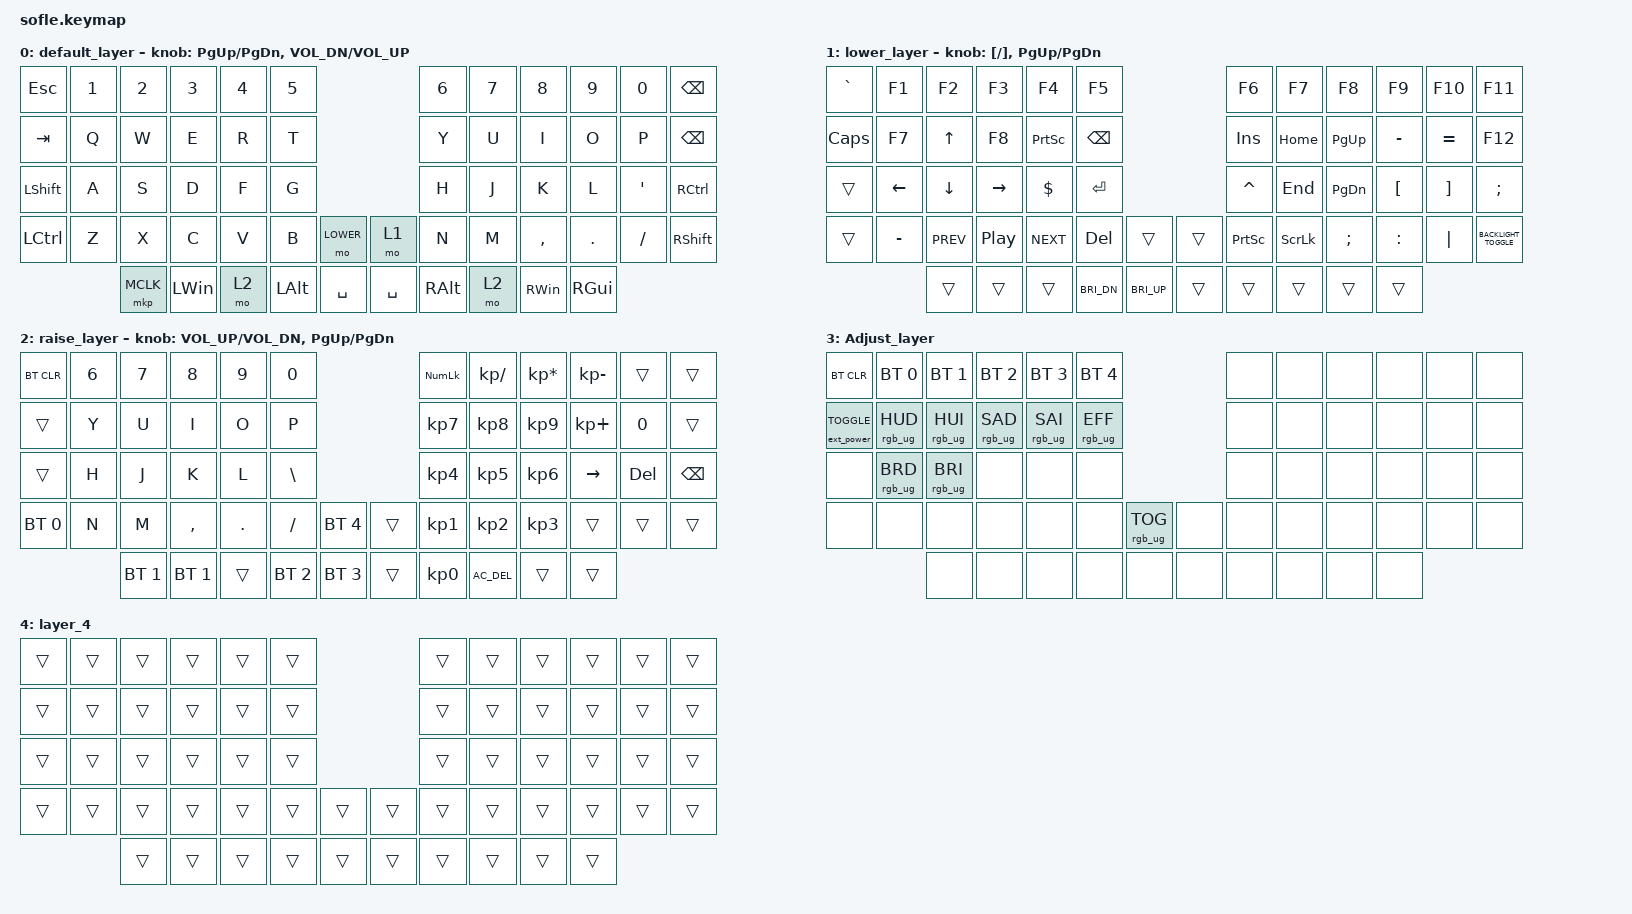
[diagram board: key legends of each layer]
/*
 * Copyright (c) 2020 The ZMK Contributors
 *
 * SPDX-License-Identifier: MIT
 */

#include <dt-bindings/zmk/mouse.h>
#include <behaviors.dtsi>
#include <dt-bindings/zmk/bt.h>
#include <dt-bindings/zmk/ext_power.h>
#include <dt-bindings/zmk/keys.h>
#include <dt-bindings/zmk/pointing.h>
#include <dt-bindings/zmk/rgb.h>

#define BASE 0
#define LOWER 1
#define RAISE 2
#define ADJUST 3

/ {
    // Activate ADJUST layer by pressing raise and lower

    conditional_layers {
        compatible = "zmk,conditional-layers";

        adjust_layer {
            if-layers = <LOWER RAISE>;
            then-layer = <ADJUST>;
        };
    };

    keymap {
        compatible = "zmk,keymap";

        default_layer {
            // ------------------------------------------------------------------------------------------------------------
            // |  `    |  1  |  2  |  3   |  4   |  5   |                   |  6   |  7    |  8    |  9   |   0   |       |
            // |  ESC  |  Q  |  W  |  E   |  R   |  T   |                   |  Y   |  U    |  I    |  O   |   P   | BKSPC |
            // |  TAB  |  A  |  S  |  D   |  F   |  G   |                   |  H   |  J    |  K    |  L   |   ;   |   '   |
            // | SHIFT |  Z  |  X  |  C   |  V   |  B   |  MUTE  |  |       |  N   |  M    |  ,    |  .   |   /   | SHIFT |
            //               | GUI | ALT  | CTRL | LOWER|  ENTER |  | SPACE | RAISE| CTRL  | ALT   | GUI  |

            bindings = <
&kp ESC    &kp N1  &kp N2     &kp N3        &kp N4  &kp N5                                &kp N6         &kp N7  &kp N8         &kp N9    &kp N0            &kp BACKSPACE
&kp TAB    &kp Q   &kp W      &kp E         &kp R   &kp T                                 &kp Y          &kp U   &kp I          &kp O     &kp P             &kp BSPC
&kp LSHFT  &kp A   &kp S      &kp D         &kp F   &kp G                                 &kp H          &kp J   &kp K          &kp L     &kp SINGLE_QUOTE  &kp RIGHT_CONTROL
&kp LCTRL  &kp Z   &kp X      &kp C         &kp V   &kp B         &mo LOWER    &mo 1      &kp N          &kp M   &kp COMMA      &kp DOT   &kp FSLH          &kp RSHFT
                   &mkp MCLK  &kp LEFT_WIN  &mo 2   &kp LEFT_ALT  &kp SPACE    &kp SPACE  &kp RIGHT_ALT  &mo 2   &kp RIGHT_WIN  &kp RGUI
            >;

            sensor-bindings =
                <&inc_dec_kp PAGE_UP PAGE_DOWN>,
                <&inc_dec_kp C_VOL_DN C_VOL_UP>;
        };

        lower_layer {
            // TODO: Some binds are waiting for shifted keycode support.
            // ------------------------------------------------------------------------------------------------------------
            // |       |  F1 |  F2 |  F3  |  F4  |  F5  |                   |  F6  |  F7   |  F8   |  F9  |  F10  |  F11  |
            // | `     |   1 |   2 |   3  |   4  |   5  |                   |   6  |   7   |   8   |   9  |    0  |  F12  |
            // |       |  !  |  @  |  #   |  $   |  %   |                   |  ^   |  &    |  *    |  (   |   )   |   |   |
            // |       |  =  |  -  |  +   |  {   |  }   |        |  |       |  [   |  ]    |  ;    |  :   |   \   |       |
            //               |     |      |      |      |        |  |       |      |       |       |      |

            bindings = <
&kp GRAVE  &kp F1     &kp F2      &kp F3     &kp F4           &kp F5                                &kp F6           &kp F7          &kp F8         &kp F9            &kp F10    &kp F11
&kp CAPS   &kp F7     &kp UP      &kp F8     &kp PRINTSCREEN  &kp BSPC                              &kp INS          &kp HOME        &kp PG_UP      &kp MINUS         &kp EQUAL  &kp F12
&trans     &kp LEFT   &kp DOWN    &kp RIGHT  &kp DLLR         &kp ENTER                             &kp CARET        &kp END         &kp PAGE_DOWN  &kp LEFT_BRACKET  &kp RBKT   &kp SEMI
&trans     &kp MINUS  &kp C_PREV  &kp C_PP   &kp C_NEXT       &kp DEL       &trans          &trans  &kp PRINTSCREEN  &kp SCROLLLOCK  &kp SEMI       &kp COLON         &kp PIPE   &kp C_BACKLIGHT_TOGGLE
                      &trans      &trans     &trans           &kp C_BRI_DN  &kp C_BRI_UP    &trans  &trans           &trans          &trans         &trans
            >;

            sensor-bindings =
                <&inc_dec_kp LEFT_BRACKET RBKT>,
                <&inc_dec_kp PG_UP PG_DN>;
        };

        raise_layer {
            // ------------------------------------------------------------------------------------------------------------
            // |BTCLR| BT1  | BT2  |  BT3  |  BT4  |  BT5 |                |      |      |       |      |       |       |
            // |     | INS  | PSCR | GUI   |       |      |                | PGUP |      |   ^   |      |       |       |
            // |     | ALT  | CTRL | SHIFT |       | CAPS |                | PGDN |   <- |   v   |  ->  |  DEL  | BKSPC |
            // |     | UNDO | CUT  | COPY  | PASTE |      |      |  |      |      |      |       |      |       |       |
            //              |      |       |       |      |      |  |      |      |      |       |      |

            bindings = <
&bt BT_CLR    &kp N6  &kp N7        &kp N8        &kp N9   &kp N0                                 &kp KP_NUMLOCK   &kp KP_DIVIDE    &kp KP_MULTIPLY  &kp KP_MINUS  &trans   &trans
&trans        &kp Y   &kp U         &kp I         &kp O    &kp P                                  &kp KP_NUMBER_7  &kp KP_NUMBER_8  &kp KP_NUMBER_9  &kp KP_PLUS   &kp N0   &trans
&trans        &kp H   &kp J         &kp K         &kp L    &kp BACKSLASH                          &kp KP_NUMBER_4  &kp KP_NUMBER_5  &kp KP_NUMBER_6  &kp RIGHT     &kp DEL  &kp BSPC
&bt BT_SEL 0  &kp N   &kp M         &kp COMMA     &kp DOT  &kp FSLH       &bt BT_SEL 4    &trans  &kp KP_NUMBER_1  &kp KP_NUMBER_2  &kp KP_NUMBER_3  &trans        &trans   &trans
                      &bt BT_SEL 1  &bt BT_SEL 1  &trans   &bt BT_SEL 2   &bt BT_SEL 3    &trans  &kp KP_NUMBER_0  &kp C_AC_DEL     &trans           &trans
            >;

            sensor-bindings = <&inc_dec_kp C_VOL_UP C_VOL_DN &inc_dec_kp PG_UP PG_DN>;
        };

        // ------------------------------------------------------------------------------------------------------------
        // |BTCLR | BT1   | BT2   |  BT3  |  BT4  |  BT5  |                |      |      |       |      |       |       |
        // |EXTPWR|RGB_HUD|RGB_HUI|RGB_SAD|RGB_SAI|RGB_EFF|                |      |      |       |      |       |       |
        // |      |RGB_BRD|RGB_BRI|       |       |       |                |      |      |       |      |       |       |
        // |      |       |       |       |       |       |RGB_TOG| |      |      |      |       |      |       |       |
        //                |       |       |       |       |       | |      |      |      |       |      |

        Adjust_layer {
            bindings = <
&bt BT_CLR                       &bt BT_SEL 0     &bt BT_SEL 1     &bt BT_SEL 2     &bt BT_SEL 3     &bt BT_SEL 4                               &none  &none  &none  &none  &none  &none
&ext_power EXT_POWER_TOGGLE_CMD  &rgb_ug RGB_HUD  &rgb_ug RGB_HUI  &rgb_ug RGB_SAD  &rgb_ug RGB_SAI  &rgb_ug RGB_EFF                            &none  &none  &none  &none  &none  &none
&none                            &rgb_ug RGB_BRD  &rgb_ug RGB_BRI  &none            &none            &none                                      &none  &none  &none  &none  &none  &none
&none                            &none            &none            &none            &none            &none            &rgb_ug RGB_TOG    &none  &none  &none  &none  &none  &none  &none
                                                  &none            &none            &none            &none            &none              &none  &none  &none  &none  &none
            >;
        };

        layer_4 {
            bindings = <
&trans  &trans  &trans  &trans  &trans  &trans                    &trans  &trans  &trans  &trans  &trans  &trans
&trans  &trans  &trans  &trans  &trans  &trans                    &trans  &trans  &trans  &trans  &trans  &trans
&trans  &trans  &trans  &trans  &trans  &trans                    &trans  &trans  &trans  &trans  &trans  &trans
&trans  &trans  &trans  &trans  &trans  &trans  &trans    &trans  &trans  &trans  &trans  &trans  &trans  &trans
                &trans  &trans  &trans  &trans  &trans    &trans  &trans  &trans  &trans  &trans
            >;
        };
    };
};
